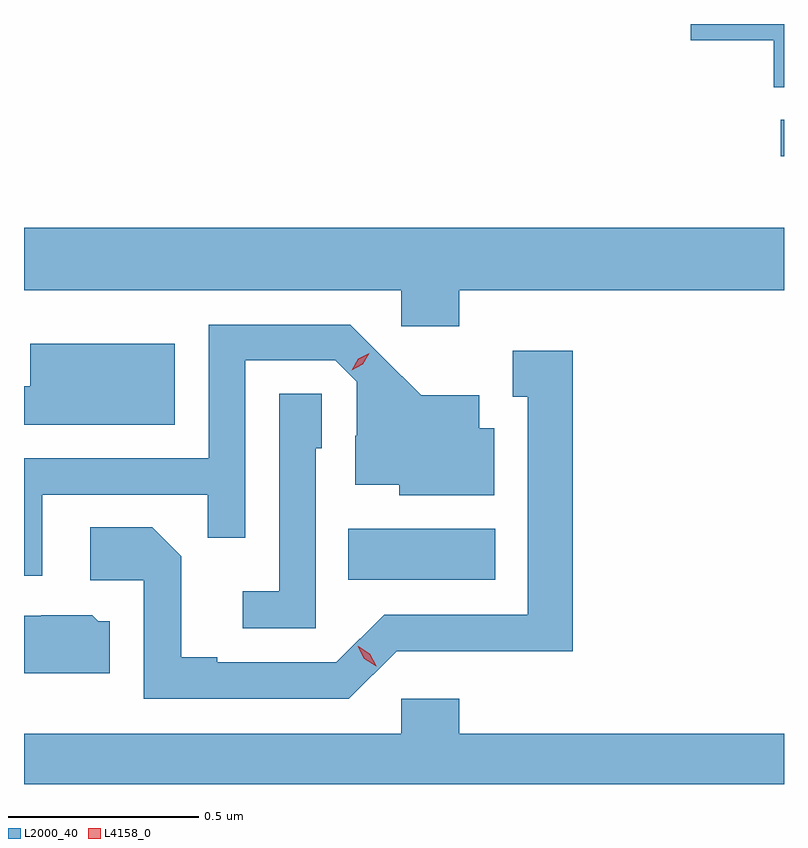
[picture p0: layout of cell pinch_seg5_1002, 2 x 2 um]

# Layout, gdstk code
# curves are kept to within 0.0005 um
import gdstk
lib = gdstk.Library(unit=1e-6, precision=1e-09)
def R(c, l, rs):  # rectangles x0, y0, x1, y1
    for r in rs: c.add(gdstk.rectangle(r[:2], r[2:], *l))
def P(c, l, *ps):  # polygons
    for p in ps: c.add(gdstk.Polygon(p, *l))
L2000_40 = (2000, 40)
L4158_0 = (4158, 0)

pinch_seg5_1002 = lib.new_cell('pinch_seg5_1002')
R(pinch_seg5_1002, L2000_40, [(710.572,881.306,710.959,881.44), (711.711,882.42,711.719,882.516)])
P(pinch_seg5_1002, L2000_40, [(711.719,882.768),(711.474,882.768),(711.474,882.725),(711.692,882.725),(711.692,882.601),(711.719,882.601)],
  [(710.864,882.068),(711.719,882.068),(711.719,882.232),(709.719,882.232),(709.719,882.068),(710.712,882.068),(710.712,881.973),(710.864,881.973)],
  [(709.767,881.529),(710.203,881.529),(710.203,881.416),(710.301,881.416),(710.301,881.883),(710.538,881.883),(710.595,881.826),(710.595,881.684),(710.591,881.684),(710.591,881.555),(710.706,881.555),(710.706,881.528),(710.956,881.528),(710.956,881.704),(710.917,881.704),(710.917,881.791),(710.765,881.791),(710.578,881.976),(710.205,881.976),(710.205,881.625),(709.719,881.625),(709.719,881.316),(709.767,881.316)],
  [(710.116,881.926),(709.736,881.926),(709.736,881.815),(709.719,881.815),(709.719,881.714),(710.116,881.714)],
  [(710.7,881.118),(710.922,881.118),(710.922,881.117),(711.163,881.117),(711.163,881.908),(711.005,881.908),(711.005,881.787),(711.044,881.787),(711.044,881.214),(710.667,881.214),(710.541,881.088),(710.227,881.088),(710.227,881.101),(710.133,881.101),(710.133,881.368),(710.057,881.444),(709.893,881.444),(709.893,881.304),(710.034,881.304),(710.034,880.992),(710.574,880.992)],
  [(710.487,881.652),(710.502,881.652),(710.502,881.795),(710.391,881.795),(710.391,881.275),(710.295,881.275),(710.295,881.178),(710.487,881.178)],
  [(709.945,881.196),(709.914,881.196),(709.898,881.212),(709.764,881.212),(709.764,881.211),(709.719,881.211),(709.719,881.06),(709.945,881.06)],
  [(711.719,880.9),(710.864,880.9),(710.864,880.993),(710.712,880.993),(710.712,880.9),(709.719,880.9),(709.719,880.768),(711.719,880.768)])
P(pinch_seg5_1002, L4158_0, [(710.646,881.078),(710.614,881.098),(710.597,881.13),(710.597,881.131),(710.598,881.131),(710.629,881.111),(710.646,881.079),(710.646,881.078)],
  [(710.581,881.857),(710.581,881.857),(710.598,881.887),(710.628,881.902),(710.628,881.902),(710.628,881.902),(710.611,881.872),(710.581,881.857)])

lib.write_gds('pinch_seg5_1002.gds')
